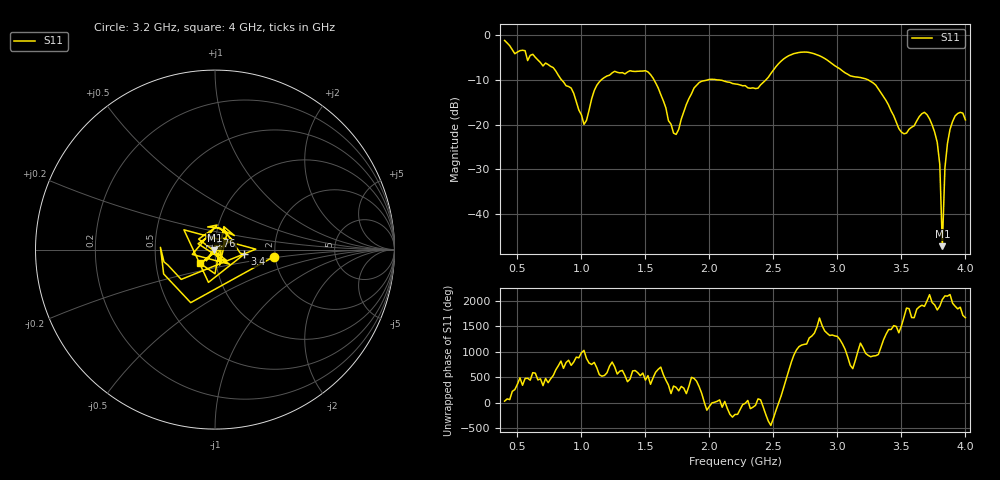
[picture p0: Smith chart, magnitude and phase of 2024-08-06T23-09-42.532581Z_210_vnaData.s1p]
!Created with skrf (http://scikit-rf.org).
# Hz S RI R 50.0
!freq ReS11 ImS11
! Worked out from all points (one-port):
!   181 points, 400 MHz to 4 GHz, reference 50 ohm
!   lowest |S11| = -47.1 dB at 3.82 GHz (marker M1), VSWR 1.01, Z = 49.7 - j0.282 ohm
!   |S11| at or under -10 dB: 1.567 GHz to 1.987 GHz (420.2 MHz wide, 23.6 % of centre); 2.062 GHz to 2.441 GHz (379.1 MHz wide, 16.8 % of centre); 3.24 GHz to end of sweep (the widest 3 of 4)
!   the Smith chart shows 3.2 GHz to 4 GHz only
!   S11 on the Smith chart (normalised r, x): 3.2 GHz: 1.96, -0.18; 3.4 GHz: 1.39, -0.07; 3.76 GHz: 0.93, +0.14; 4 GHz: 0.84, -0.13
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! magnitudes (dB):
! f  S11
! 400 MHz  -1.2
! 860 MHz  -10.5
! 920 MHz  -11.8
! 1.02 GHz  -19.9
! 1.12 GHz  -11.2
! 1.3 GHz  -8.4
! 1.52 GHz  -8.2
! 1.6 GHz  -11.8
! 1.72 GHz  -21.9
! 1.76 GHz  -21.1
! 1.92 GHz  -10.6
! 2.2 GHz  -10.9
! 2.38 GHz  -11.9
! 2.66 GHz  -4.1
! 2.86 GHz  -4.6
! 3.1 GHz  -9.1
! 3.2 GHz  -9.6
! 3.4 GHz  -15.6
! 3.5 GHz  -21.6
! 3.56 GHz  -21.0
! 3.68 GHz  -17.2
! 3.76 GHz  -21.7
! 3.8 GHz  -28.9
! 3.82 GHz  -47.1
! 3.84 GHz  -29.7
! 3.88 GHz  -21.0
! 3.94 GHz  -17.5
! 4 GHz  -18.9
